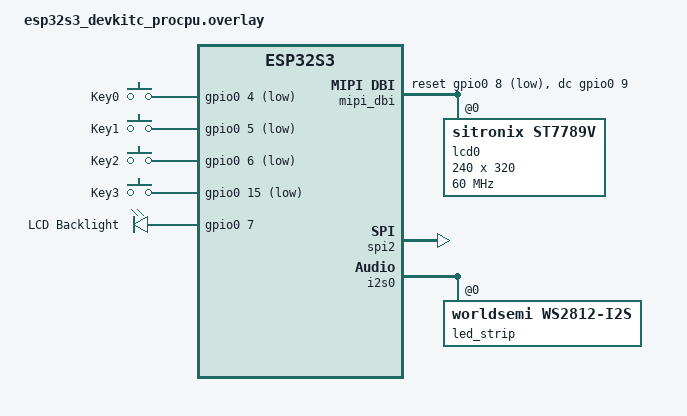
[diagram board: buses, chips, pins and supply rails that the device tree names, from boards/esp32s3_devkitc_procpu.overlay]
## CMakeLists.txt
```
# SPDX-License-Identifier: Apache-2.0

cmake_minimum_required(VERSION 3.20.0)

find_package(Zephyr REQUIRED HINTS $ENV{ZEPHYR_BASE})
project(button_test)

target_sources(app PRIVATE
    src/main.c
    src/nanum_gothic_regular.c
)
```

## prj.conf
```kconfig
# Application configuration
CONFIG_GPIO=y
CONFIG_INPUT=y
CONFIG_LOG=n
CONFIG_PRINTK=y
CONFIG_LED_STRIP=y
CONFIG_SPI=y
CONFIG_DISPLAY=y
CONFIG_MIPI_DBI=y
CONFIG_LED=y
CONFIG_LVGL=y
CONFIG_LV_Z_AUTO_INIT=n
CONFIG_LV_COLOR_16_SWAP=y
CONFIG_LV_USE_LABEL=y
CONFIG_LV_USE_TINY_TTF=y
CONFIG_LV_TINY_TTF_CACHE_GLYPH_CNT=8
CONFIG_LV_TINY_TTF_CACHE_KERNING_CNT=8
CONFIG_LV_FONT_MONTSERRAT_48=y
CONFIG_LV_Z_MEM_POOL_SIZE=131072
CONFIG_LV_Z_MEMORY_POOL_CUSTOM_SECTION=y
CONFIG_MAIN_STACK_SIZE=4096
```

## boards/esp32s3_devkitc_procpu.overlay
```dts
#include <zephyr/dt-bindings/input/input-event-codes.h>
#include <zephyr/dt-bindings/gpio/gpio.h>
#include <zephyr/dt-bindings/led/led.h>
#include <zephyr/dt-bindings/display/panel.h>
#include <zephyr/dt-bindings/mipi_dbi/mipi_dbi.h>


/ {
    aliases {
        app-buttons = &app_buttons;
        led-strip = &led_strip;
        display = &lcd0;
    };

    app_buttons: buttons_ej {
        compatible = "gpio-keys";
        debounce-interval-ms = <50>;

        key0: key_0 {
            gpios = <&gpio0 4 (GPIO_ACTIVE_LOW | GPIO_PULL_UP)>;
            label = "Key0";
            zephyr,code = <INPUT_KEY_1>;
        };
        key1: key_1 {
            gpios = <&gpio0 5 (GPIO_ACTIVE_LOW | GPIO_PULL_UP)>;
            label = "Key1";
            zephyr,code = <INPUT_KEY_2>;
        };
        key2: key_2 {
            gpios = <&gpio0 6 (GPIO_ACTIVE_LOW | GPIO_PULL_UP)>;
            label = "Key2";
            zephyr,code = <INPUT_KEY_3>;
        };
        key3: key_3 {
            gpios = <&gpio0 15 (GPIO_ACTIVE_LOW | GPIO_PULL_UP)>;
            label = "Key3";
            zephyr,code = <INPUT_KEY_4>;
        };
    };
    chosen {
        zephyr,display = &lcd0;
    };

    lcd_bl: lcd_bl {
        compatible = "gpio-leds";

        backlight {
            gpios = <&gpio0 7 GPIO_ACTIVE_HIGH>;
            label = "LCD Backlight";
        };
    };
    mipi_dbi {
        compatible = "zephyr,mipi-dbi-spi";
        spi-dev = <&spi2>;
        dc-gpios = <&gpio0 9 GPIO_ACTIVE_HIGH>;
        reset-gpios = <&gpio0 8 GPIO_ACTIVE_LOW>;
        write-only;

        #address-cells = <1>;
        #size-cells = <0>;
        status = "okay";

        lcd0: st7789v@0 {
            compatible = "sitronix,st7789v";
            reg = <0>;

            mipi-mode = "MIPI_DBI_MODE_SPI_4WIRE";
            mipi-max-frequency = <60000000>;

            width = <240>;
            height = <320>;
            pixel-format = <PANEL_PIXEL_FORMAT_RGB_565>;

            x-offset = <0>;
            y-offset = <0>;

            vcom = <0x19>;
            gctrl = <0x35>;
            vrhs = <0x12>;
            vdvs = <0x20>;
            mdac = <0xc0>;
            gamma = <0x01>;
            lcm = <0x2c>;

            porch-param = [0c 0c 00 33 33];
            cmd2en-param = [5a 69 02 01];
            pwctrl1-param = [a4 a1];
            pvgam-param = [d0 04 0d 11 13 2b 3f 54 4c 18 0d 0b 1f 23];
            nvgam-param = [d0 04 0c 11 13 2c 3f 44 51 2f 1f 1f 20 23];
            ram-param = [00 f0];
            rgb-param = [cd 08 14];
            status = "okay";
        };
    };
};

&spi2 {
    status = "okay";
    pinctrl-0 = <&spim2_default>;
    pinctrl-names = "default";
};

&spi3 {
    status = "disabled";
};

&i2s0_default {
    group1 {
        pinmux = <I2S0_O_SD_GPIO38>;
    };
};

i2s_led: &i2s0 {
    status = "okay";

    dmas = <&dma 3>;
    dma-names = "tx";

    led_strip: ws2812@0 {
        compatible = "worldsemi,ws2812-i2s";

        reg = <0>;
        chain-length = <1>;
        color-mapping = <LED_COLOR_ID_GREEN
            LED_COLOR_ID_RED
            LED_COLOR_ID_BLUE>;
        reset-delay = <500>;
    };
};

&dma {
    status = "okay";
};
```

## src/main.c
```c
#include <inttypes.h>
#include <stdbool.h>

#define APP_USE_LVGL_UI 1
#define APP_ENABLE_BUTTONS 1
#define APP_ENABLE_LCD 1
#define APP_ENABLE_LED_STRIP 1

#if APP_USE_LVGL_UI
#include <lvgl.h>
#include <lvgl_zephyr.h>
#endif
#include <zephyr/device.h>
#if APP_ENABLE_LCD
#include <zephyr/drivers/display.h>
#include <zephyr/drivers/led.h>
#endif
#if APP_ENABLE_LED_STRIP
#include <zephyr/drivers/led_strip.h>
#endif
#if APP_ENABLE_BUTTONS
#include <zephyr/dt-bindings/input/input-event-codes.h>
#include <zephyr/input/input.h>
#endif
#include <zephyr/kernel.h>
#if APP_USE_LVGL_UI
#include <zephyr/sys/atomic.h>
#endif

#if APP_ENABLE_BUTTONS
#define BUTTONS_NODE DT_ALIAS(app_buttons)
#define BUTTONS_DEV DEVICE_DT_GET(BUTTONS_NODE)
#endif

#if APP_ENABLE_LED_STRIP
#define STRIP_NODE DT_ALIAS(led_strip)
#define STRIP_DEV DEVICE_DT_GET(STRIP_NODE)
#endif

#if APP_ENABLE_LCD
#define DISPLAY_NODE DT_CHOSEN(zephyr_display)
#define DISPLAY_DEV DEVICE_DT_GET(DISPLAY_NODE)
#define LCD_BL_NODE DT_NODELABEL(lcd_bl)
#define LCD_BL_DEV DEVICE_DT_GET(LCD_BL_NODE)
#endif

#define RED_PIXEL_INDEX 0

#if APP_USE_LVGL_UI
#define UI_THREAD_STACK_SIZE 8192
#define UI_THREAD_PRIORITY 5
#define KEY_CARD_COUNT 4
#endif

#if APP_ENABLE_LED_STRIP
static struct led_rgb pixels[4] = {
    { .r = 10, .g = 0, .b = 0 },
    { .r = 0, .g = 10, .b = 0 },
    { .r = 0, .g = 0, .b = 10 },
    { .r = 10, .g = 10, .b = 10 }
};
#endif

#if APP_USE_LVGL_UI
static atomic_t pending_key = ATOMIC_INIT(INPUT_KEY_1);
static struct k_thread ui_thread_data;
static K_THREAD_STACK_DEFINE(ui_thread_stack, UI_THREAD_STACK_SIZE);
static lv_style_t screen_style;
static lv_style_t key_label_style;
static lv_style_t info_label_style;
static lv_style_t badge_style;
static lv_style_t key_card_style;
static lv_style_t active_key_card_style;
static lv_obj_t *main_screen;
static lv_obj_t *detail_screen;
static lv_obj_t *detail_key_label;
static lv_obj_t *detail_color_label;
#endif

#if APP_USE_LVGL_UI
extern const unsigned char nanum_gothic_regular_ttf[];
extern const unsigned int nanum_gothic_regular_ttf_len;
#endif

#if APP_ENABLE_LED_STRIP || APP_USE_LVGL_UI
static void select_key(uint32_t key_code)
{
    if (key_code < INPUT_KEY_1 || key_code > INPUT_KEY_4) {
        return;
    }

#if APP_ENABLE_LED_STRIP
    size_t pixel_index = key_code - INPUT_KEY_1;

    led_strip_update_rgb(STRIP_DEV, &pixels[pixel_index], 1);
#endif

#if APP_USE_LVGL_UI
    atomic_set(&pending_key, key_code);
#endif
}
#endif

#if APP_USE_LVGL_UI
static void init_ui_styles(void)
{
    lv_style_init(&screen_style);
    lv_style_set_bg_color(&screen_style, lv_color_hex(0xcc2020));
    lv_style_set_bg_opa(&screen_style, LV_OPA_COVER);

    lv_style_init(&key_label_style);
    lv_style_set_text_color(&key_label_style, lv_color_white());
    lv_style_set_text_align(&key_label_style, LV_TEXT_ALIGN_CENTER);
    lv_style_set_text_letter_space(&key_label_style, 1);

    lv_style_init(&info_label_style);
    lv_style_set_text_color(&info_label_style, lv_color_white());
    lv_style_set_text_align(&info_label_style, LV_TEXT_ALIGN_CENTER);
    lv_style_set_text_letter_space(&info_label_style, 1);

    lv_style_init(&badge_style);
    lv_style_set_bg_color(&badge_style, lv_color_hex(0x202020));
    lv_style_set_bg_opa(&badge_style, LV_OPA_70);
    lv_style_set_radius(&badge_style, 8);
    lv_style_set_pad_left(&badge_style, 12);
    lv_style_set_pad_right(&badge_style, 12);
    lv_style_set_pad_top(&badge_style, 6);
    lv_style_set_pad_bottom(&badge_style, 6);

    lv_style_init(&key_card_style);
    lv_style_set_bg_color(&key_card_style, lv_color_hex(0x202020));
    lv_style_set_bg_opa(&key_card_style, LV_OPA_60);
    lv_style_set_border_color(&key_card_style, lv_color_hex(0x606060));
    lv_style_set_border_width(&key_card_style, 1);
    lv_style_set_radius(&key_card_style, 6);

    lv_style_init(&active_key_card_style);
    lv_style_set_bg_color(&active_key_card_style, lv_color_hex(0xffffff));
    lv_style_set_bg_opa(&active_key_card_style, LV_OPA_30);
    lv_style_set_border_color(&active_key_card_style, lv_color_white());
    lv_style_set_border_width(&active_key_card_style, 2);
}

static bool get_key_info(uint32_t key_code,
                         const char **main_text,
                         const char **key_text,
                         const char **color_text,
                         lv_color_t *bg_color,
                         size_t *selected_index)
{
    switch (key_code) {
    case INPUT_KEY_1:
        *main_text = "버튼0";
        *key_text = "KEY1";
        *color_text = "RED";
        *bg_color = lv_color_hex(0xcc2020);
        *selected_index = 0;
        return true;
    case INPUT_KEY_2:
        *main_text = "버튼1";
        *key_text = "KEY2";
        *color_text = "GREEN";
        *bg_color = lv_color_hex(0x209c3a);
        *selected_index = 1;
        return true;
    case INPUT_KEY_3:
        *main_text = "버튼2";
        *key_text = "KEY3";
        *color_text = "BLUE";
        *bg_color = lv_color_hex(0x1d4ed8);
        *selected_index = 2;
        return true;
    case INPUT_KEY_4:
        *main_text = "버튼3";
        *key_text = "KEY4";
        *color_text = "WHITE";
        *bg_color = lv_color_black();
        *selected_index = 3;
        return true;
    default:
        return false;
    }
}

static void set_detail_screen_for_key(uint32_t key_code)
{
    const char *main_text;
    const char *key_text;
    const char *color_text;
    lv_color_t bg_color;
    size_t selected_index;

    if (!get_key_info(key_code, &main_text, &key_text, &color_text, &bg_color, &selected_index)) {
        return;
    }

    ARG_UNUSED(main_text);
    ARG_UNUSED(selected_index);

    lv_label_set_text(detail_key_label, key_text);
    lv_label_set_text_fmt(detail_color_label, "COLOR: %s", color_text);
}

static void set_label_for_key(lv_obj_t *key_label,
                              lv_obj_t *key_badge_label,
                              lv_obj_t *color_badge_label,
                              lv_obj_t *key_cards[KEY_CARD_COUNT],
                              uint32_t key_code)
{
    const char *text;
    const char *key_text;
    const char *color_text;
    lv_color_t bg_color;
    size_t selected_index;

    if (!get_key_info(key_code, &text, &key_text, &color_text, &bg_color, &selected_index)) {
        return;
    }

    lv_style_set_bg_color(&screen_style, bg_color);
    lv_obj_report_style_change(&screen_style);

    lv_label_set_text(key_label, text);
    lv_obj_center(key_label);

    lv_label_set_text(key_badge_label, key_text);
    lv_label_set_text(color_badge_label, color_text);

    for (size_t i = 0; i < KEY_CARD_COUNT; i++) {
        lv_obj_remove_style(key_cards[i], &active_key_card_style, LV_PART_MAIN);
    }
    lv_obj_add_style(key_cards[selected_index], &active_key_card_style, LV_PART_MAIN);
}

static void back_card_event_cb(lv_event_t *event)
{
    if (lv_event_get_code(event) != LV_EVENT_CLICKED) {
        return;
    }

    lv_screen_load_anim(main_screen,
                        LV_SCR_LOAD_ANIM_MOVE_RIGHT,
                        200,
                        0,
                        false);
}

static void key_card_event_cb(lv_event_t *event)
{
    uint32_t key_code;

    if (lv_event_get_code(event) != LV_EVENT_CLICKED) {
        return;
    }

    key_code = (uint32_t)(uintptr_t)lv_event_get_user_data(event);
    printk("LVGL key card clicked: %" PRIu32 "\n", key_code);
    select_key(key_code);
    set_detail_screen_for_key(key_code);
    lv_screen_load_anim(detail_screen,
                        LV_SCR_LOAD_ANIM_MOVE_LEFT,
                        200,
                        0,
                        false);
}

static void ui_thread(void *p1, void *p2, void *p3)
{
    ARG_UNUSED(p1);
    ARG_UNUSED(p2);
    ARG_UNUSED(p3);

    lv_font_t *nanum_font = lv_tiny_ttf_create_data_ex(nanum_gothic_regular_ttf,
                                                       nanum_gothic_regular_ttf_len,
                                                       48,
                                                       LV_FONT_KERNING_NONE,
                                                       8);
    lv_obj_t *header;
    lv_obj_t *content;
    lv_obj_t *button_row;
    lv_obj_t *footer;
    lv_obj_t *title_label;
    lv_obj_t *key_label;
    lv_obj_t *key_cards[KEY_CARD_COUNT];
    lv_obj_t *key_card_labels[KEY_CARD_COUNT];
    lv_obj_t *key_badge;
    lv_obj_t *color_badge;
    lv_obj_t *key_badge_label;
    lv_obj_t *color_badge_label;
    lv_obj_t *detail_title_label;
    lv_obj_t *detail_back_card;
    lv_obj_t *detail_back_label;
    static const char *const key_card_texts[KEY_CARD_COUNT] = {
        "KEY1",
        "KEY2",
        "KEY3",
        "KEY4"
    };
    static const uint32_t key_card_codes[KEY_CARD_COUNT] = {
        INPUT_KEY_1,
        INPUT_KEY_2,
        INPUT_KEY_3,
        INPUT_KEY_4
    };
    atomic_val_t displayed_key = -1;

    init_ui_styles();

    main_screen = lv_obj_create(NULL);
    detail_screen = lv_obj_create(NULL);
    lv_obj_add_style(main_screen, &screen_style, LV_PART_MAIN);
    lv_obj_add_style(detail_screen, &screen_style, LV_PART_MAIN);

    header = lv_obj_create(main_screen);
    content = lv_obj_create(main_screen);
    button_row = lv_obj_create(content);
    footer = lv_obj_create(main_screen);

    lv_obj_remove_style_all(header);
    lv_obj_remove_style_all(content);
    lv_obj_remove_style_all(button_row);
    lv_obj_remove_style_all(footer);

    lv_obj_set_size(header, LV_PCT(100), 48);
    lv_obj_align(header, LV_ALIGN_TOP_MID, 0, 0);

    lv_obj_set_size(content, LV_PCT(100), 220);
    lv_obj_align(content, LV_ALIGN_CENTER, 0, 0);

    lv_obj_set_size(button_row, LV_PCT(100), 38);
    lv_obj_align(button_row, LV_ALIGN_BOTTOM_MID, 0, -4);
    lv_obj_set_flex_flow(button_row, LV_FLEX_FLOW_ROW);
    lv_obj_set_flex_align(button_row,
                          LV_FLEX_ALIGN_CENTER,
                          LV_FLEX_ALIGN_CENTER,
                          LV_FLEX_ALIGN_CENTER);
    lv_obj_set_style_pad_gap(button_row, 6, LV_PART_MAIN);

    lv_obj_set_size(footer, LV_PCT(100), 44);
    lv_obj_align(footer, LV_ALIGN_BOTTOM_MID, 0, 0);
    lv_obj_set_flex_flow(footer, LV_FLEX_FLOW_ROW);
    lv_obj_set_flex_align(footer,
                          LV_FLEX_ALIGN_CENTER,
                          LV_FLEX_ALIGN_CENTER,
                          LV_FLEX_ALIGN_CENTER);
    lv_obj_set_style_pad_gap(footer, 8, LV_PART_MAIN);

    title_label = lv_label_create(header);
    key_label = lv_label_create(content);
    for (size_t i = 0; i < KEY_CARD_COUNT; i++) {
        key_cards[i] = lv_obj_create(button_row);
        key_card_labels[i] = lv_label_create(key_cards[i]);

        lv_obj_remove_style_all(key_cards[i]);
        lv_obj_add_style(key_cards[i], &key_card_style, LV_PART_MAIN);
        lv_obj_set_size(key_cards[i], 48, 32);
        lv_obj_add_flag(key_cards[i], LV_OBJ_FLAG_CLICKABLE);
        lv_obj_add_event_cb(key_cards[i],
                            key_card_event_cb,
                            LV_EVENT_CLICKED,
                            (void *)(uintptr_t)key_card_codes[i]);
    }
    key_badge = lv_obj_create(footer);
    color_badge = lv_obj_create(footer);
    key_badge_label = lv_label_create(key_badge);
    color_badge_label = lv_label_create(color_badge);

    lv_obj_remove_style_all(key_badge);
    lv_obj_remove_style_all(color_badge);
    lv_obj_add_style(key_badge, &badge_style, LV_PART_MAIN);
    lv_obj_add_style(color_badge, &badge_style, LV_PART_MAIN);
    lv_obj_set_size(key_badge, 82, 32);
    lv_obj_set_size(color_badge, 92, 32);

    lv_obj_add_style(title_label, &info_label_style, LV_PART_MAIN);
    lv_obj_add_style(key_label, &key_label_style, LV_PART_MAIN);
    for (size_t i = 0; i < KEY_CARD_COUNT; i++) {
        lv_obj_add_style(key_card_labels[i], &info_label_style, LV_PART_MAIN);
        lv_label_set_text(key_card_labels[i], key_card_texts[i]);
        lv_obj_center(key_card_labels[i]);
    }
    lv_obj_add_style(key_badge_label, &info_label_style, LV_PART_MAIN);
    lv_obj_add_style(color_badge_label, &info_label_style, LV_PART_MAIN);
    lv_obj_center(key_badge_label);
    lv_obj_center(color_badge_label);

    if (nanum_font != NULL) {
        lv_obj_set_style_text_font(key_label, nanum_font, LV_PART_MAIN);
    } else {
        printk("Nanum Gothic font init failed\n");
        lv_obj_set_style_text_font(key_label, &lv_font_montserrat_48, LV_PART_MAIN);
    }

    lv_label_set_text(title_label, "Button Test");
    lv_obj_center(title_label);

    detail_title_label = lv_label_create(detail_screen);
    detail_key_label = lv_label_create(detail_screen);
    detail_color_label = lv_label_create(detail_screen);
    detail_back_card = lv_obj_create(detail_screen);
    detail_back_label = lv_label_create(detail_back_card);

    lv_obj_remove_style_all(detail_back_card);
    lv_obj_add_style(detail_title_label, &info_label_style, LV_PART_MAIN);
    lv_obj_add_style(detail_key_label, &key_label_style, LV_PART_MAIN);
    lv_obj_add_style(detail_color_label, &info_label_style, LV_PART_MAIN);
    lv_obj_add_style(detail_back_card, &badge_style, LV_PART_MAIN);
    lv_obj_add_style(detail_back_label, &info_label_style, LV_PART_MAIN);

    if (nanum_font != NULL) {
        lv_obj_set_style_text_font(detail_key_label, nanum_font, LV_PART_MAIN);
    } else {
        lv_obj_set_style_text_font(detail_key_label, &lv_font_montserrat_48, LV_PART_MAIN);
    }

    lv_label_set_text(detail_title_label, "Detail");
    lv_obj_align(detail_title_label, LV_ALIGN_TOP_MID, 0, 16);
    lv_obj_center(detail_key_label);
    lv_obj_align(detail_color_label, LV_ALIGN_CENTER, 0, 56);

    lv_obj_set_size(detail_back_card, 96, 36);
    lv_obj_align(detail_back_card, LV_ALIGN_BOTTOM_MID, 0, -14);
    lv_obj_add_flag(detail_back_card, LV_OBJ_FLAG_CLICKABLE);
    lv_obj_add_event_cb(detail_back_card, back_card_event_cb, LV_EVENT_CLICKED, NULL);
    lv_label_set_text(detail_back_label, "BACK");
    lv_obj_center(detail_back_label);

    set_detail_screen_for_key(INPUT_KEY_1);
    lv_screen_load(main_screen);

    while (1) {
        atomic_val_t key_code = atomic_get(&pending_key);

        if (key_code != displayed_key) {
            set_label_for_key(key_label,
                              key_badge_label,
                              color_badge_label,
                              key_cards,
                              (uint32_t)key_code);
            set_detail_screen_for_key((uint32_t)key_code);
            displayed_key = key_code;
        }

        lv_timer_handler();
        k_sleep(K_MSEC(10));
    }
}
#endif

#if APP_ENABLE_BUTTONS
static void button_input_cb(struct input_event *evt, void *user_data)
{
    ARG_UNUSED(user_data);

    if (evt->sync == 0) {
        return;
    }

    if (evt->type != INPUT_EV_KEY) {
        return;
    }

    if (evt->value != 1) {
        printk("key code %u released\n", evt->code);
        return;
    }

    printk("key code %u pressed at %" PRIu32 "\n", evt->code, k_cycle_get_32());

#if APP_ENABLE_LED_STRIP || APP_USE_LVGL_UI
    if (evt->code >= INPUT_KEY_1 && evt->code <= INPUT_KEY_4) {
        select_key(evt->code);
    }
#endif
}

INPUT_CALLBACK_DEFINE(BUTTONS_DEV, button_input_cb, NULL);
#endif

int main(void)
{
#if APP_USE_LVGL_UI
    int ret;
#endif

    printk("main start\n");

#if APP_ENABLE_BUTTONS
    if (!device_is_ready(BUTTONS_DEV)) {
        printk("Button input device is not ready\n");
        return 0;
    }
#endif
#if APP_ENABLE_LED_STRIP
    if (!device_is_ready(STRIP_DEV)) {
        printk("LED strip device is not ready\n");
        return 0;
    }
#endif
#if APP_ENABLE_LCD
    if (!device_is_ready(DISPLAY_DEV)) {
        printk("Display device is not ready\n");
        return 0;
    }
    if (!device_is_ready(LCD_BL_DEV)) {
        printk("LCD backlight device is not ready\n");
        return 0;
    }
#endif

#if APP_ENABLE_BUTTONS || APP_ENABLE_LCD || APP_ENABLE_LED_STRIP
    printk("all devices ready\n");
#else
    printk("no peripheral drivers enabled\n");
#endif

#if APP_USE_LVGL_UI
    printk("LVGL init start\n");
    ret = lvgl_init();
    if (ret < 0) {
        printk("LVGL init failed: %d\n", ret);
        return 0;
    }
    printk("LVGL init OK\n");
#endif

#if APP_ENABLE_LCD
    printk("LCD backlight on start\n");
    led_on(LCD_BL_DEV, 0);
    printk("LCD backlight on OK\n");
    printk("display blanking off start\n");
    display_blanking_off(DISPLAY_DEV);
    printk("display blanking off OK\n");
#endif

#if APP_ENABLE_LED_STRIP
    led_strip_update_rgb(STRIP_DEV, &pixels[RED_PIXEL_INDEX], 1);
#endif

#if APP_USE_LVGL_UI
    k_thread_create(&ui_thread_data,
                    ui_thread_stack,
                    K_THREAD_STACK_SIZEOF(ui_thread_stack),
                    ui_thread,
                    NULL,
                    NULL,
                    NULL,
                    UI_THREAD_PRIORITY,
                    0,
                    K_NO_WAIT);
#endif

#if APP_ENABLE_BUTTONS
    printk("Button input test started\n");
#endif

    k_sleep(K_FOREVER);
    return 0;
}
```
